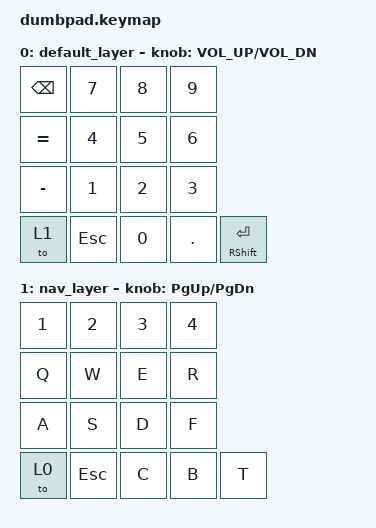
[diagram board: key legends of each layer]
#include <behaviors.dtsi>
#include <dt-bindings/zmk/keys.h>
#include <dt-bindings/zmk/bt.h>
#include <dt-bindings/zmk/matrix_transform.h>

/ {
    chosen {
        zmk,kscan = &kscan0;
        zmk,matrix_transform = &default_transform;
    };

    default_transform: keymap_transform_0 {
        compatible = "zmk,matrix-transform";
        columns = <5>;
        rows = <4>;
        map = < 
            KEYMAP_ROW_COL(0,1) KEYMAP_ROW_COL(0,2) KEYMAP_ROW_COL(0,3) KEYMAP_ROW_COL(0,4)
            KEYMAP_ROW_COL(1,1) KEYMAP_ROW_COL(1,2) KEYMAP_ROW_COL(1,3) KEYMAP_ROW_COL(1,4)
            KEYMAP_ROW_COL(2,1) KEYMAP_ROW_COL(2,2) KEYMAP_ROW_COL(2,3) KEYMAP_ROW_COL(2,4)
            KEYMAP_ROW_COL(3,0) KEYMAP_ROW_COL(3,1) KEYMAP_ROW_COL(3,2) KEYMAP_ROW_COL(3,3) KEYMAP_ROW_COL(3,4)
        >;
    };

    kscan0: kscan {
        compatible = "zmk,kscan-gpio-matrix";
        wakeup-source;
        diode-direction = "col2row";
        col-gpios = <
            &gpio0 5  (GPIO_ACTIVE_HIGH | GPIO_PULL_DOWN)
            &gpio0 15 (GPIO_ACTIVE_HIGH | GPIO_PULL_DOWN)
            &gpio0 14 (GPIO_ACTIVE_HIGH | GPIO_PULL_DOWN)
            &gpio0 16 (GPIO_ACTIVE_HIGH | GPIO_PULL_DOWN)
            &gpio0 10 (GPIO_ACTIVE_HIGH | GPIO_PULL_DOWN)
        >;
        row-gpios = <
            &gpio0 21 (GPIO_ACTIVE_HIGH | GPIO_PULL_DOWN)
            &gpio0 20 (GPIO_ACTIVE_HIGH | GPIO_PULL_DOWN)
            &gpio0 19 (GPIO_ACTIVE_HIGH | GPIO_PULL_DOWN)
            &gpio0 18 (GPIO_ACTIVE_HIGH | GPIO_PULL_DOWN)
        >;
    };

    keymap {
        compatible = "zmk,keymap";

        default_layer {
            bindings = <
                &kp BSPC  &kp N7  &kp N8 &kp N9  
                &kp EQUAL &kp N4  &kp N5 &kp N6  
                &kp MINUS &kp N1  &kp N2 &kp N3  
                &to 1     &kp ESC  &kp N0  &kp DOT  &mt RSHIFT RET
            >;
            sensor-bindings = <&inc_dec_kp C_VOL_UP C_VOL_DN>;
        };

        nav_layer {
            bindings = <
                &kp N1   &kp N2   &kp N3   &kp N4
                &kp Q    &kp W    &kp E    &kp R
                &kp A    &kp S    &kp D    &kp F
                &to 0    &kp ESC  &kp C    &kp B   &kp T
            >;
            sensor-bindings = <&inc_dec_kp PG_UP PG_DN>;
        };
    };

    sensors {
        compatible = "zmk,sensors";
        encoder_left: encoder_left {
            compatible = "alps,ec11";
            label = "LEFT_ENCODER";
            a-gpios = <&gpio0 9 (GPIO_ACTIVE_HIGH | GPIO_PULL_UP)>;
            b-gpios = <&gpio0 8 (GPIO_ACTIVE_HIGH | GPIO_PULL_UP)>;
            steps = <24>;
        };
        encoder_right: encoder_right {
            compatible = "alps,ec11";
            label = "RIGHT_ENCODER";
            a-gpios = <&gpio0 7 (GPIO_ACTIVE_HIGH | GPIO_PULL_UP)>;
            b-gpios = <&gpio0 6 (GPIO_ACTIVE_HIGH | GPIO_PULL_UP)>;
            steps = <24>;
        };
    };
};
